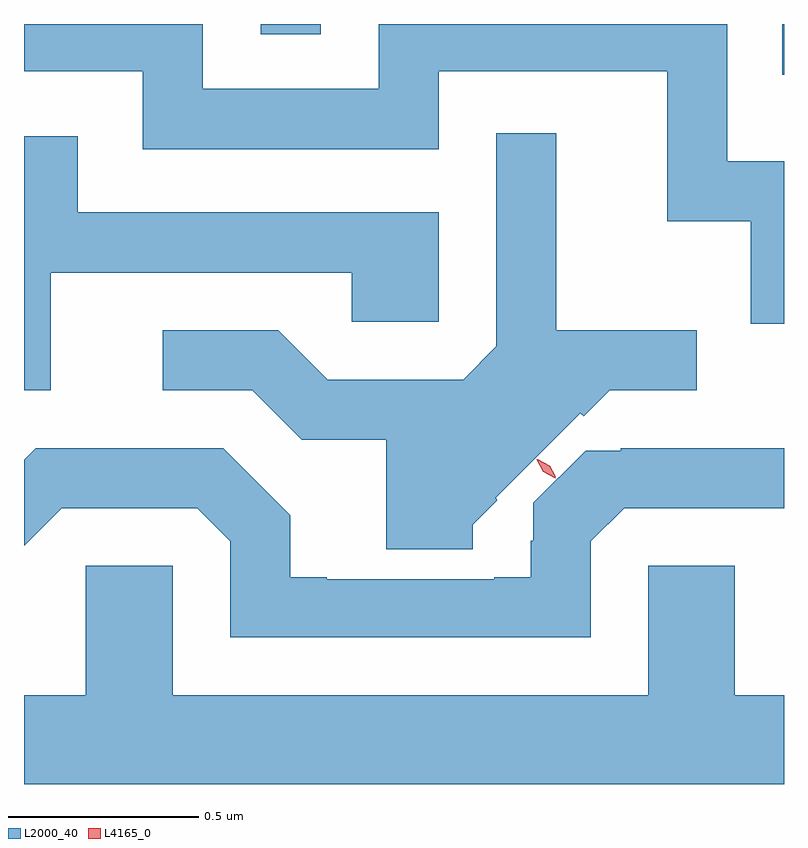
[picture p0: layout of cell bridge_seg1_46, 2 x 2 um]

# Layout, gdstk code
import gdstk
lib = gdstk.Library(unit=1e-6, precision=1e-09)
def R(c, l, rs):  # rectangles x0, y0, x1, y1
    for r in rs: c.add(gdstk.rectangle(r[:2], r[2:], *l))
def P(c, l, *ps):  # polygons
    for p in ps: c.add(gdstk.Polygon(p, *l))
L2000_40 = (2000, 40)
L4165_0 = (4165, 0)

bridge_seg1_46 = lib.new_cell('bridge_seg1_46')
R(bridge_seg1_46, L2000_40, [(1814.193,925.896,1814.198,926.03), (1812.821,926.003,1812.979,926.03)])
P(bridge_seg1_46, L2000_40, [(1814.198,925.669),(1814.049,925.669),(1814.049,926.03),(1813.131,926.03),(1813.131,925.859),(1812.669,925.859),(1812.669,926.03),(1812.198,926.03),(1812.198,925.906),(1812.511,925.906),(1812.511,925.701),(1813.289,925.701),(1813.289,925.906),(1813.891,925.906),(1813.891,925.511),(1814.111,925.511),(1814.111,925.241),(1814.198,925.241)],
  [(1813.379,924.712),(1813.444,924.777),(1813.439,924.783),(1813.662,925.006),(1813.671,924.998),(1813.739,925.066),(1813.968,925.066),(1813.968,925.224),(1813.599,925.224),(1813.599,925.743),(1813.441,925.743),(1813.441,925.182),(1813.354,925.094),(1812.997,925.094),(1812.867,925.224),(1812.563,925.224),(1812.563,925.066),(1812.799,925.066),(1812.929,924.936),(1813.151,924.936),(1813.151,924.648),(1813.379,924.648)],
  [(1812.269,925.376),(1813.061,925.376),(1813.061,925.246),(1813.289,925.246),(1813.289,925.534),(1812.339,925.534),(1812.339,925.734),(1812.198,925.734),(1812.198,925.066),(1812.269,925.066)],
  [(1813.689,924.669),(1813.777,924.756),(1814.198,924.756),(1814.198,924.914),(1813.768,924.914),(1813.768,924.907),(1813.676,924.907),(1813.538,924.77),(1813.538,924.67),(1813.531,924.67),(1813.531,924.574),(1813.435,924.574),(1813.435,924.569),(1812.995,924.569),(1812.995,924.574),(1812.899,924.574),(1812.899,924.737),(1812.722,924.914),(1812.229,924.914),(1812.198,924.883),(1812.198,924.657),(1812.297,924.756),(1812.654,924.756),(1812.741,924.669),(1812.741,924.416),(1813.689,924.416)],
  [(1814.198,924.264),(1814.069,924.264),(1814.069,924.604),(1813.841,924.604),(1813.841,924.264),(1812.589,924.264),(1812.589,924.604),(1812.361,924.604),(1812.361,924.264),(1812.198,924.264),(1812.198,924.03),(1814.198,924.03)])
P(bridge_seg1_46, L4165_0, [(1813.596,924.834),(1813.565,924.852),(1813.547,924.883),(1813.547,924.884),(1813.548,924.884),(1813.579,924.866),(1813.597,924.835),(1813.597,924.834)],
  [(1813.596,924.838),(1813.567,924.853),(1813.551,924.882),(1813.551,924.883),(1813.552,924.883),(1813.581,924.868),(1813.597,924.838),(1813.597,924.838)])

lib.write_gds('bridge_seg1_46.gds')
